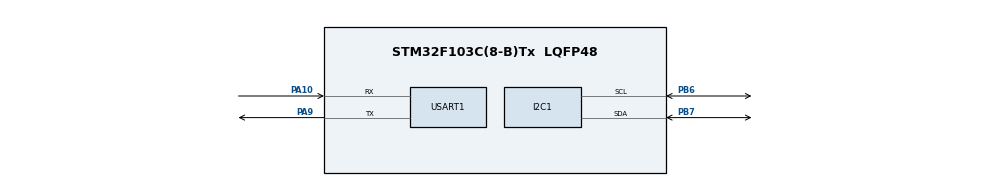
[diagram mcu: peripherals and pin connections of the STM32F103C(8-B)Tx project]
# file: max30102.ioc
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I2C1.I2C_Mode=I2C_Standard
Mcu.Family=STM32F1
Mcu.Name=STM32F103C(8-B)Tx
Mcu.Package=LQFP48
NVIC.PriorityGroup=NVIC_PRIORITYGROUP_4
PA10.Mode=Asynchronous
PA10.Signal=USART1_RX
PA13.Mode=Trace_Asynchronous_SW
PA13.Signal=SYS_JTMS-SWDIO
PA14.Mode=Trace_Asynchronous_SW
PA14.Signal=SYS_JTCK-SWCLK
PA9.Mode=Asynchronous
PA9.Signal=USART1_TX
PB3.Mode=Trace_Asynchronous_SW
PB3.Signal=SYS_JTDO-TRACESWO
PB6.Mode=I2C
PB6.Signal=I2C1_SCL
PB7.Mode=I2C
PB7.Signal=I2C1_SDA
ProjectManager.HeapSize=0x200
ProjectManager.StackSize=0x400
ProjectManager.TargetToolchain=STM32CubeIDE
RCC.APB1Freq_Value=8000000
RCC.APB2Freq_Value=8000000
USART1.VirtualMode=VM_ASYNC
board=custom

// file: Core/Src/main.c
/* USER CODE BEGIN Header */
/**
  ******************************************************************************
  * @file           : main.c
  * @brief          : Main program body
  ******************************************************************************
  * @attention
  *
  * <h2><center>&copy; Copyright (c) 2020 STMicroelectronics.
  * All rights reserved.</center></h2>
  *
  * This software component is licensed by ST under BSD 3-Clause license,
  * the "License"; You may not use this file except in compliance with the
  * License. You may obtain a copy of the License at:
  *                        opensource.org/licenses/BSD-3-Clause
  *
  ******************************************************************************
  */
/* USER CODE END Header */
#include "main.h"

/* USER CODE BEGIN Includes */
#include "max30102_drv.h"
#include "utils.h"
/* USER CODE END Includes */

I2C_HandleTypeDef hi2c1;

UART_HandleTypeDef huart1;

/* USER CODE BEGIN PV */
MAX30102_HandleTypeDef hpo = {0};
/* USER CODE END PV */

void SystemClock_Config(void);
static void MX_GPIO_Init(void);
static void MX_I2C1_Init(void);
static void MX_USART1_UART_Init(void);

int main(void)
{

  /* MCU Configuration--------------------------------------------------------*/

  /* Reset of all peripherals, Initializes the Flash interface and the Systick. */
  HAL_Init();

  /* Configure the system clock */
  SystemClock_Config();

  /* Initialize all configured peripherals */
  MX_GPIO_Init();
  MX_I2C1_Init();
  MX_USART1_UART_Init();
  /* USER CODE BEGIN 2 */
//  printf(CLEAR_TERMINAL TEXT_COLOR_DEFAULT);

//  hpo.fifoConfig = SMP_AVE_32|FIFO_ROLLOVER_DIS|FIFO_A_FULL_MAX;
  hpo.modeConfig = HR_MODE;
  hpo.ledPulseAmplIr = 0x0F;
  hpo.ledPulseAmplRed = 0x0F;
  hpo.modeConfig = HR_MODE;
  hpo.fifoConfig = FIFO_ROLLOVER_EN;
  hpo.address = MAX30102_I2C_ADDRESS;
  hpo.hi2c = &hi2c1;
  po_init(&hpo);
  po_write_reg(&hpo, A_FULL_EN|PPG_RDY_EN, INT_ENABLE_1_REG);
//  po_write_reg(&hpo, DIE_TEMP_RDY_EN, INT_ENABLE_2_REG);

    uint8_t readBuff = 0;
//    po_read_reg(&hpo, &readBuff, INT_STATUS_1_REG);
//    printf("INT_STATUS_1_REG: %d\r\n", readBuff);
//
//    po_read_reg(&hpo, &readBuff, INT_STATUS_2_REG);
//    printf("INT_STATUS_2_REG: %d\r\n", readBuff);

//  po_write_reg(&hpo, RESET, MODE_CONFIG_REG);

//    po_write_reg(&hpo, 0xc0, INT_ENABLE_1_REG);
//    po_write_reg(&hpo, 0x00, INT_ENABLE_2_REG);
//    po_write_reg(&hpo, 0x00, FIFO_WR_PTR_REG);
//    po_write_reg(&hpo, 0x00, OVF_COUNTER_REG);
//    po_write_reg(&hpo, 0x00, FIFO_RD_PTR_REG);
//    po_write_reg(&hpo, 0x00, FIFO_CONFIG_REG);
//    po_write_reg(&hpo, 0x07, SPO2_CONFIG_REG);
//    po_write_reg(&hpo, 0x24, LED_PULSE_AMPLITUDE_IR_REG);
//    po_write_reg(&hpo, 0x24, LED_PULSE_AMPLITUDE_RED_REG);
//    po_write_reg(&hpo, 0x03, MODE_CONFIG_REG);

//    po_print_reg(&hpo, MODE_CONFIG_REG);
    printf(CLEAR_TERMINAL TEXT_COLOR_DEFAULT);
    printf("Start\r\n");
    po_write_reg(&hpo, 0x00, FIFO_WR_PTR_REG);
    po_write_reg(&hpo, 0x00, FIFO_RD_PTR_REG);
    po_write_reg(&hpo, 0x00, OVF_COUNTER_REG);
//    po_print_dump(&hpo);
  /* USER CODE END 2 */

  /* Infinite loop */
  /* USER CODE BEGIN WHILE */
  while (1)
  {
      uint8_t intStatus = 0;
      po_read_reg(&hpo, &intStatus, INT_STATUS_1_REG);
//      if((intStatus & A_FULL) != 0){
          uint8_t readBuff[3] = {0};
          po_write_reg(&hpo, 0x00, FIFO_RD_PTR_REG);    //read from 0
          uint8_t data = FIFO_DATA_REG;
          HAL_I2C_Master_Transmit(&hi2c1, hpo.address, &data, 1, HAL_MAX_DELAY);
//          for(uint8_t i = 0; i < 32; i++){
              uint32_t result = 0;
              po_print_reg(&hpo, FIFO_RD_PTR_REG);
              HAL_I2C_Master_Receive(&hi2c1, hpo.address, readBuff, 3, HAL_MAX_DELAY);
              result |= (uint32_t)(readBuff[0]<<16);
              result |= (uint32_t)(readBuff[1]<<8);
              result |= (uint32_t)(readBuff[1]);
              printf("%ld\r\n", result);
              HAL_Delay(50);
//          }
//          po_print_dump(&hpo);
//      }
    /* USER CODE END WHILE */
  }
}

void SystemClock_Config(void)
{
  RCC_OscInitTypeDef RCC_OscInitStruct = {0};
  RCC_ClkInitTypeDef RCC_ClkInitStruct = {0};

  /** Initializes the RCC Oscillators according to the specified parameters
  * in the RCC_OscInitTypeDef structure.
  */
  RCC_OscInitStruct.OscillatorType = RCC_OSCILLATORTYPE_HSI;
  RCC_OscInitStruct.HSIState = RCC_HSI_ON;
  RCC_OscInitStruct.HSICalibrationValue = RCC_HSICALIBRATION_DEFAULT;
  RCC_OscInitStruct.PLL.PLLState = RCC_PLL_NONE;
  if (HAL_RCC_OscConfig(&RCC_OscInitStruct) != HAL_OK)
  {
    Error_Handler();
  }
  /** Initializes the CPU, AHB and APB buses clocks
  */
  RCC_ClkInitStruct.ClockType = RCC_CLOCKTYPE_HCLK|RCC_CLOCKTYPE_SYSCLK
                              |RCC_CLOCKTYPE_PCLK1|RCC_CLOCKTYPE_PCLK2;
  RCC_ClkInitStruct.SYSCLKSource = RCC_SYSCLKSOURCE_HSI;
  RCC_ClkInitStruct.AHBCLKDivider = RCC_SYSCLK_DIV1;
  RCC_ClkInitStruct.APB1CLKDivider = RCC_HCLK_DIV1;
  RCC_ClkInitStruct.APB2CLKDivider = RCC_HCLK_DIV1;

  if (HAL_RCC_ClockConfig(&RCC_ClkInitStruct, FLASH_LATENCY_0) != HAL_OK)
  {
    Error_Handler();
  }
}

static void MX_I2C1_Init(void)
{

  hi2c1.Instance = I2C1;
  hi2c1.Init.ClockSpeed = 100000;
  hi2c1.Init.DutyCycle = I2C_DUTYCYCLE_2;
  hi2c1.Init.OwnAddress1 = 0;
  hi2c1.Init.AddressingMode = I2C_ADDRESSINGMODE_7BIT;
  hi2c1.Init.DualAddressMode = I2C_DUALADDRESS_DISABLE;
  hi2c1.Init.OwnAddress2 = 0;
  hi2c1.Init.GeneralCallMode = I2C_GENERALCALL_DISABLE;
  hi2c1.Init.NoStretchMode = I2C_NOSTRETCH_DISABLE;
  if (HAL_I2C_Init(&hi2c1) != HAL_OK)
  {
    Error_Handler();
  }

}

static void MX_USART1_UART_Init(void)
{

  huart1.Instance = USART1;
  huart1.Init.BaudRate = 115200;
  huart1.Init.WordLength = UART_WORDLENGTH_8B;
  huart1.Init.StopBits = UART_STOPBITS_1;
  huart1.Init.Parity = UART_PARITY_NONE;
  huart1.Init.Mode = UART_MODE_TX_RX;
  huart1.Init.HwFlowCtl = UART_HWCONTROL_NONE;
  huart1.Init.OverSampling = UART_OVERSAMPLING_16;
  if (HAL_UART_Init(&huart1) != HAL_OK)
  {
    Error_Handler();
  }

}

static void MX_GPIO_Init(void)
{

  /* GPIO Ports Clock Enable */
  __HAL_RCC_GPIOA_CLK_ENABLE();
  __HAL_RCC_GPIOB_CLK_ENABLE();

}

/* USER CODE BEGIN 4 */
#if defined(__GNUC__)
int _write(int fd, char * ptr, int len)
{
  HAL_UART_Transmit(&huart1, (uint8_t *) ptr, len, HAL_MAX_DELAY);
  return len;
}
#elif defined (__ICCARM__)
#include "LowLevelIOInterface.h"
size_t __write(int handle, const unsigned char * buffer, size_t size)
{
  HAL_UART_Transmit(&huart1, (uint8_t *) buffer, size, HAL_MAX_DELAY);
  return size;
}
#elif defined (__CC_ARM)
int fputc(int ch, FILE *f)
{
    HAL_UART_Transmit(&huart1, (uint8_t *)&ch, 1, HAL_MAX_DELAY);
    return ch;
}
#endif

// OR:

// Add syscalls.c with GCC

#ifdef __GNUC__
#define PUTCHAR_PROTOTYPE int __io_putchar(int ch)
#else
#define PUTCHAR_PROTOTYPE int fputc(int ch, FILE *f)
#endif /* __GNUC__ */

/**
  * @brief  Retargets the C library printf function to the USART.
  * @param  None
  * @retval None
  */
PUTCHAR_PROTOTYPE
{
  HAL_UART_Transmit(&huart1, (uint8_t *)&ch, 1, HAL_MAX_DELAY);
  return ch;
}
/* USER CODE END 4 */

void Error_Handler(void)
{
}

/************************ (C) COPYRIGHT STMicroelectronics *****END OF FILE****/
